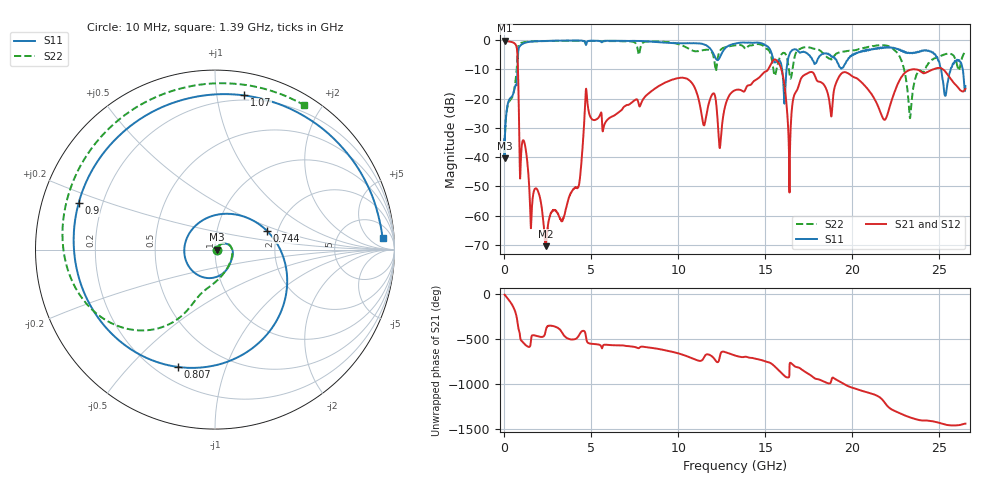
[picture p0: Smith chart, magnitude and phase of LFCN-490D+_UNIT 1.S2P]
!Created: 10-16-2013 at 09:11:12
!Mini-Circuits
!S2P DATA File Format
!Type: LOW PASS FILTER
!MODEL: LFCN-490D+
!S/N: Unit 1
!PIN OUT: PORT 1 - PIN 1, PORT 2 - PIN 3, GROUND - PIN 2,4
!TEST CONDITIONS: Z:50 OHM SYSTEM, INPUT POWER = -10dBm
!PROD RUN: MDC0070 DATE CODE: 1311
!REMARK: UNITS MOUNTED ON TB-270 RUN#MN43610 D/C 1336. PORT EXTENSION HAS BEEN DONE.
!TESTED ON: NETWORK ANALYZER MODEL AG N5242A S/N 71932 CAL DUE DATE 3/15/14
# MHZ S DB R 50
!Frequency  S11 dB  S11 DEG  S21 dB  S21 DEG  S12 dB  S12 DEG  S22 dB  S22 DEG
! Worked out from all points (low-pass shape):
!   4441 points, 10 MHz to 26.5 GHz, reference 50 ohm
!   highest |S21| = -0.14 dB at 15 MHz (marker M1); lowest = -70.4 dB at 2.365 GHz (marker M2)
!   |S21| within 3 dB of the highest: start of sweep to 721.7 MHz
!   lowest |S11| = -40.3 dB at 10 MHz (marker M3), VSWR 1.02, Z = 51 - j0.0602 ohm
!   |S11| at or under -10 dB: start of sweep to 745.4 MHz; 15.96 GHz to 16.22 GHz (255 MHz wide, 1.59 % of centre); 25.11 GHz to 25.65 GHz (541.6 MHz wide, 2.13 % of centre)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
!   |S22| runs from -39.6 to -0.2 dB; largest |S21 - S12| = 0.0054
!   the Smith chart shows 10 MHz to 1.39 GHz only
!   S11 on the Smith chart (normalised r, x): 10 MHz: 1.02, -0.00; 744 MHz: 1.75, +0.41; 807 MHz: 0.28, -0.70; 900 MHz: 0.11, +0.16; 1.07 GHz: 0.16, +1.19; 1.39 GHz: 15, +15
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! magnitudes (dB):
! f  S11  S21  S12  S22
! 10 MHz  -40.3  -0.2  -0.2  -39.6
! 15 MHz  -35.7  -0.1  -0.1  -36.6
! 159 MHz  -22.8  -0.3  -0.3  -23.2
! 744 MHz  -10.3  -4.7  -4.7  -6.0
! 807 MHz  -3.3  -17.2  -17.2  -1.8
! 900 MHz  -1.9  -47.3  -47.3  -1.1
! 1.07 GHz  -1.2  -34.2  -34.2  -0.8
! 1.39 GHz  -0.6  -46.9  -46.9  -0.5
! 2.365 GHz  -0.2  -70.4  -70.2  -0.3
! 4.425 GHz  -0.1  -41.8  -41.8  -0.2
! 4.725 GHz  -0.9  -18.1  -18.1  -0.9
! 5.725 GHz  -0.2  -29.2  -29.2  -0.3
! 8.84 GHz  -0.6  -15.8  -15.8  -0.4
! 10.55 GHz  -1.1  -13.4  -13.4  -2.7
! 12.43 GHz  -5.3  -34.4  -34.4  -3.3
! 13.26 GHz  -1.2  -17.1  -17.1  -1.7
! 15.63 GHz  -7.4  -6.8  -6.8  -10.3
! 16.41 GHz  -4.5  -39.5  -39.6  -12.5
! 17.67 GHz  -6.2  -10.9  -10.8  -2.7
! 22.09 GHz  -2.4  -24.0  -23.9  -2.1
! 23.33 GHz  -4.4  -10.1  -10.1  -26.3
! 26.5 GHz  -15.7  -16.6  -16.7  -4.0
